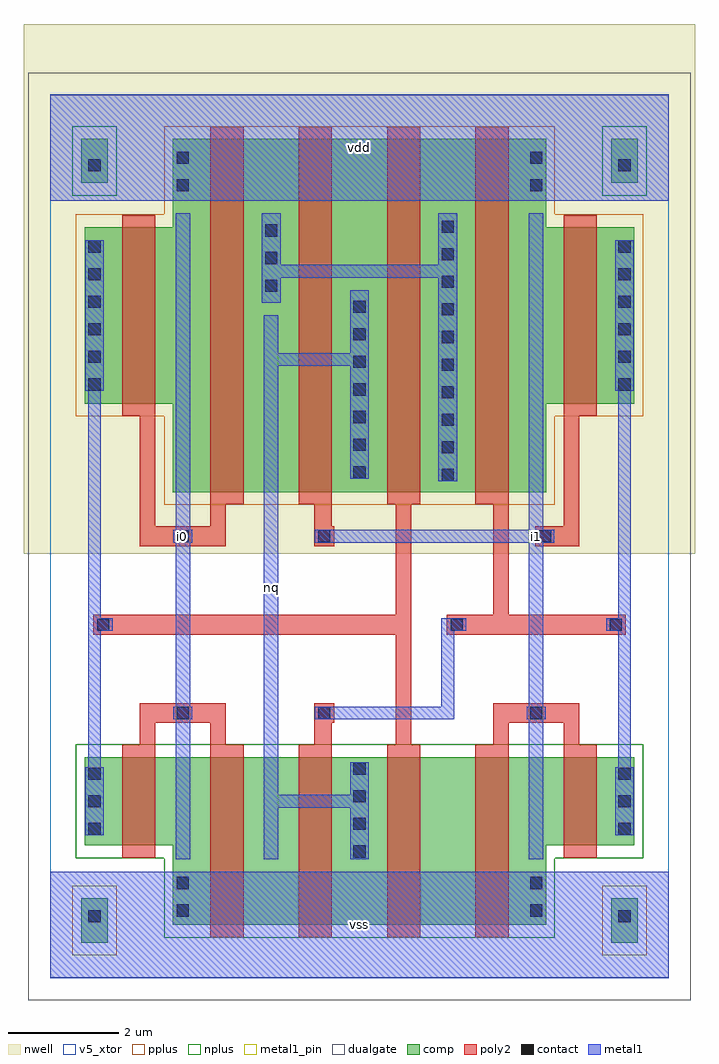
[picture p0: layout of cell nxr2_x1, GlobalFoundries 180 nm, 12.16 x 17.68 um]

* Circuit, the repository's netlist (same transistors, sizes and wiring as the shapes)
* nxr2_x1
.subckt nxr2_x1 nq vdd vss i0 i1
Mp_net0_1 nq _net0 _net1 vdd pfet_06v0 l=0.6um w=6.4um
Mn_net0_1 nq _net0 _net2 vss nfet_06v0 l=0.6um w=3.04um
Mn_net3_1 _net4 _net3 nq vss nfet_06v0 l=0.6um w=3.04um
Mp_net3_1 _net1 _net3 vdd vdd pfet_06v0 l=0.6um w=6.4um
Mp_i0_1 _net0 i0 vdd vdd pfet_06v0 l=0.6um w=3.2um
Mn_i0_2 vss i0 _net4 vss nfet_06v0 l=0.6um w=3.04um
Mp_i0_2 vdd i0 _net1 vdd pfet_06v0 l=0.6um w=6.4um
Mn_i0_1 _net0 i0 vss vss nfet_06v0 l=0.6um w=1.6um
Mp_i1_1 _net1 i1 nq vdd pfet_06v0 l=0.6um w=6.4um
Mn_i1_1 _net2 i1 vss vss nfet_06v0 l=0.6um w=3.04um
Mp_i1_2 vdd i1 _net3 vdd pfet_06v0 l=0.6um w=3.2um
Mn_i1_2 vss i1 _net3 vss nfet_06v0 l=0.6um w=1.6um
.ends nxr2_x1

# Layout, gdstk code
import gdstk
lib = gdstk.Library(unit=1e-6, precision=1e-09)
def R(c, l, rs):  # rectangles x0, y0, x1, y1
    for r in rs: c.add(gdstk.rectangle(r[:2], r[2:], *l))
def A(c, l, x, y, w, h, nx, ny, dx, dy):  # array of equal rectangles
    R(c, l, [(x+i*dx, y+j*dy, x+i*dx+w, y+j*dy+h) for i in range(nx) for j in range(ny)])
def P(c, l, *ps):  # polygons
    for p in ps: c.add(gdstk.Polygon(p, *l))
nwell = (21, 0)
comp = (22, 0)
poly2 = (30, 0)
pplus = (31, 0)
nplus = (32, 0)
contact = (33, 0)
metal1 = (34, 0)
metal1_pin = (34, 10)
dualgate = (55, 0)
v5_xtor = (112, 1)

nxr2_x1 = lib.new_cell('nxr2_x1')
R(nxr2_x1, nwell, [(-0.48,7.68,11.68,17.28)])
R(nxr2_x1, comp, [(0.56,0.64,1.04,1.44), (10.16,0.64,10.64,1.44), (0.56,14.4,1.04,15.2), (10.16,14.4,10.64,15.2)])
P(nxr2_x1, comp, [(2.22,8.8),(2.22,10.4),(0.62,10.4),(0.62,13.6),(2.22,13.6),(2.22,15.2),(8.98,15.2),(8.98,13.6),(10.58,13.6),(10.58,10.4),(8.98,10.4),(8.98,8.8)],
  [(2.22,0.96),(2.22,2.4),(0.62,2.4),(0.62,4),(10.58,4),(10.58,2.4),(8.98,2.4),(8.98,0.96)])
P(nxr2_x1, poly2, [(6.1,0.74),(6.1,4.22),(6.26,4.22),(6.26,6.22),(0.78,6.22),(0.78,6.58),(6.26,6.58),(6.26,8.58),(6.1,8.58),(6.1,15.42),(6.7,15.42),(6.7,8.58),(6.54,8.58),(6.54,4.22),(6.7,4.22),(6.7,0.74)],
  [(4.5,0.74),(4.5,4.22),(4.78,4.22),(4.78,4.98),(5.14,4.98),(5.14,4.62),(5.1,4.62),(5.1,0.74)],
  [(7.18,6.22),(7.18,6.58),(8.02,6.58),(8.02,8.58),(7.7,8.58),(7.7,15.42),(8.3,15.42),(8.3,6.58),(10.42,6.58),(10.42,6.22)],
  [(2.9,0.74),(2.9,4.62),(1.9,4.62),(1.9,2.18),(1.3,2.18),(1.3,4.22),(1.62,4.22),(1.62,4.98),(3.18,4.98),(3.18,4.22),(3.5,4.22),(3.5,0.74)],
  [(1.62,7.82),(1.62,10.18),(1.3,10.18),(1.3,13.82),(1.9,13.82),(1.9,8.18),(2.9,8.18),(2.9,15.42),(3.5,15.42),(3.5,8.58),(3.18,8.58),(3.18,7.82)],
  [(4.78,7.82),(4.78,8.58),(4.5,8.58),(4.5,15.42),(5.1,15.42),(5.1,8.18),(5.14,8.18),(5.14,7.82)],
  [(8.78,7.82),(8.78,8.18),(9.3,8.18),(9.3,13.82),(9.9,13.82),(9.9,10.18),(9.58,10.18),(9.58,7.82)],
  [(7.7,0.74),(7.7,4.22),(8.02,4.22),(8.02,4.98),(9.58,4.98),(9.58,4.22),(9.9,4.22),(9.9,2.18),(9.3,2.18),(9.3,4.62),(8.3,4.62),(8.3,0.74)])
R(nxr2_x1, pplus, [(0.4,0.41,1.2,1.67), (10,0.41,10.8,1.67)])
P(nxr2_x1, pplus, [(2.06,8.57),(2.06,10.17),(0.46,10.17),(0.46,13.83),(2.06,13.83),(2.06,15.43),(9.14,15.43),(9.14,13.83),(10.74,13.83),(10.74,10.17),(9.14,10.17),(9.14,8.57)])
R(nxr2_x1, nplus, [(0.4,14.17,1.2,15.43), (10,14.17,10.8,15.43)])
P(nxr2_x1, nplus, [(2.06,0.73),(2.06,2.17),(0.46,2.17),(0.46,4.23),(10.74,4.23),(10.74,2.17),(9.14,2.17),(9.14,0.73)])
A(nxr2_x1, contact, 5.49, 2.18, 0.22, 0.22, 1, 4, 0, 0.5)
A(nxr2_x1, contact, 0.69, 2.59, 0.22, 0.22, 1, 3, 0, 0.5)
A(nxr2_x1, contact, 10.29, 2.59, 0.22, 0.22, 1, 3, 0, 0.5)
A(nxr2_x1, contact, 7.09, 9, 0.22, 0.22, 1, 10, 0, 0.5)
A(nxr2_x1, contact, 5.49, 9.05, 0.22, 0.22, 1, 7, 0, 0.5)
A(nxr2_x1, contact, 0.69, 10.64, 0.22, 0.22, 1, 6, 0, 0.5)
A(nxr2_x1, contact, 10.29, 10.64, 0.22, 0.22, 1, 6, 0, 0.5)
A(nxr2_x1, contact, 3.89, 12.43, 0.22, 0.22, 1, 3, 0, 0.5)
R(nxr2_x1, contact, [(0.69,1.01,0.91,1.23), (10.29,1.01,10.51,1.23), (2.29,1.11,2.51,1.33), (8.69,1.11,8.91,1.33), (2.29,1.61,2.51,1.83), (8.69,1.61,8.91,1.83), (2.29,4.69,2.51,4.91), (4.85,4.69,5.07,4.91), (8.69,4.69,8.91,4.91), (0.85,6.29,1.07,6.51), (7.25,6.29,7.47,6.51), (10.13,6.29,10.35,6.51), (2.29,7.89,2.51,8.11), (4.85,7.89,5.07,8.11), (8.85,7.89,9.07,8.11), (2.29,14.25,2.51,14.47), (8.69,14.25,8.91,14.47), (0.69,14.61,0.91,14.83), (10.29,14.61,10.51,14.83), (2.29,14.75,2.51,14.97), (8.69,14.75,8.91,14.97)])
R(nxr2_x1, metal1, [(0,0,11.2,1.92), (0,14.08,11.2,16)])
P(nxr2_x1, metal1, [(3.87,2.15),(3.87,12),(4.13,12),(4.13,11.315),(5.43,11.315),(5.43,12.455),(5.77,12.455),(5.77,9.045),(5.43,9.045),(5.43,11.085),(4.13,11.085),(4.13,3.315),(5.43,3.315),(5.43,3.905),(5.77,3.905),(5.77,2.15),(5.43,2.15),(5.43,3.085),(4.13,3.085),(4.13,2.15)],
  [(7.03,8.995),(7.03,12.685),(4.17,12.685),(4.17,12.23),(3.83,12.23),(3.83,13.85),(4.17,13.85),(4.17,12.915),(7.03,12.915),(7.03,13.85),(7.37,13.85),(7.37,8.995)],
  [(0.63,2.585),(0.63,3.815),(0.685,3.815),(0.685,10.635),(0.63,10.635),(0.63,13.365),(0.97,13.365),(0.97,10.635),(0.915,10.635),(0.915,6.515),(1.13,6.515),(1.13,6.285),(0.915,6.285),(0.915,3.815),(0.97,3.815),(0.97,2.585)],
  [(10.23,2.585),(10.23,3.815),(10.285,3.815),(10.285,6.285),(10.07,6.285),(10.07,6.515),(10.285,6.515),(10.285,10.635),(10.23,10.635),(10.23,13.365),(10.57,13.365),(10.57,10.635),(10.515,10.635),(10.515,3.815),(10.57,3.815),(10.57,2.585)],
  [(4.79,4.685),(4.79,4.915),(7.085,4.915),(7.085,6.515),(7.53,6.515),(7.53,6.285),(7.315,6.285),(7.315,4.685)],
  [(2.27,2.15),(2.27,4.685),(2.23,4.685),(2.23,4.915),(2.27,4.915),(2.27,7.885),(2.23,7.885),(2.23,8.115),(2.27,8.115),(2.27,13.85),(2.53,13.85),(2.53,8.115),(2.57,8.115),(2.57,7.885),(2.53,7.885),(2.53,4.915),(2.57,4.915),(2.57,4.685),(2.53,4.685),(2.53,2.15)],
  [(8.67,2.15),(8.67,4.685),(8.63,4.685),(8.63,4.915),(8.67,4.915),(8.67,7.885),(4.79,7.885),(4.79,8.115),(8.67,8.115),(8.67,13.85),(8.93,13.85),(8.93,8.115),(9.13,8.115),(9.13,7.885),(8.93,7.885),(8.93,4.915),(8.97,4.915),(8.97,4.685),(8.93,4.685),(8.93,2.15)])
R(nxr2_x1, metal1_pin, [(0,0,11.2,1.92), (2.27,2.15,2.53,13.85), (3.87,2.15,4.13,12), (8.67,2.15,8.93,13.85), (0,14.08,11.2,16)])
R(nxr2_x1, dualgate, [(-0.4,-0.4,11.6,16.4)])
R(nxr2_x1, v5_xtor, [(-0.005,-0.005,11.205,16.005)])
nxr2_x1.add(gdstk.Label('nq', (4,7.075), layer=34, texttype=10))
nxr2_x1.add(gdstk.Label('vdd', (5.6,15.04), layer=34, texttype=10))
nxr2_x1.add(gdstk.Label('vss', (5.6,0.96), layer=34, texttype=10))
nxr2_x1.add(gdstk.Label('i0', (2.4,8), layer=34, texttype=10))
nxr2_x1.add(gdstk.Label('i1', (8.8,8), layer=34, texttype=10))

lib.write_gds('nxr2_x1.gds')
